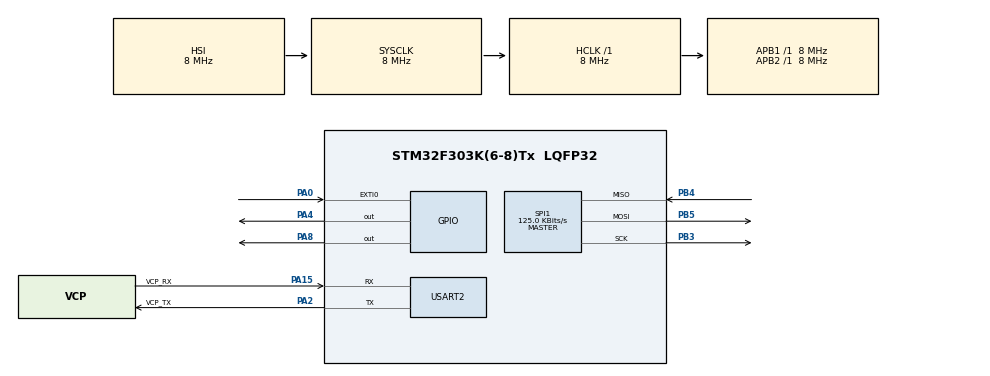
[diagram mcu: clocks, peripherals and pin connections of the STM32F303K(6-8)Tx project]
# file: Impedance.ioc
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Mcu.Family=STM32F3
Mcu.Name=STM32F303K(6-8)Tx
Mcu.Package=LQFP32
NVIC.EXTI0_IRQn=true\:0\:0\:false\:false\:true\:true\:true\:true
NVIC.PriorityGroup=NVIC_PRIORITYGROUP_4
PA0.GPIO_ModeDefaultEXTI=GPIO_MODE_IT_FALLING
PA0.GPIO_PuPd=GPIO_PULLUP
PA0.Signal=GPXTI0
PA13.GPIO_Label=SWDIO
PA13.Mode=Serial_Wire
PA13.Signal=SYS_JTMS-SWDIO
PA14.GPIO_Label=SWCLK
PA14.Mode=Serial_Wire
PA14.Signal=SYS_JTCK-SWCLK
PA15.GPIO_Label=VCP_RX
PA15.Mode=Asynchronous
PA15.Signal=USART2_RX
PA2.GPIO_Label=VCP_TX
PA2.Mode=Asynchronous
PA2.Signal=USART2_TX
PA4.PinState=GPIO_PIN_SET
PA4.Signal=GPIO_Output
PA8.Signal=GPIO_Output
PB3.Mode=Full_Duplex_Master
PB3.Signal=SPI1_SCK
PB4.Mode=Full_Duplex_Master
PB4.Signal=SPI1_MISO
PB5.Mode=Full_Duplex_Master
PB5.Signal=SPI1_MOSI
PF0\ /\ OSC_IN.GPIO_Label=MCO
PF0\ /\ OSC_IN.Mode=HSE-External-Clock-Source
PF0\ /\ OSC_IN.Signal=RCC_OSC_IN
ProjectManager.HeapSize=0x200
ProjectManager.StackSize=0x400
ProjectManager.TargetToolchain=STM32CubeIDE
RCC.AHBFreq_Value=8000000
RCC.APB1Freq_Value=8000000
RCC.APB2Freq_Value=8000000
RCC.CortexFreq_Value=8000000
RCC.HSE_VALUE=8000000
RCC.HSI_VALUE=8000000
RCC.SYSCLKFreq_VALUE=8000000
SPI1.BaudRatePrescaler=SPI_BAUDRATEPRESCALER_64
SPI1.CalculateBaudRate=125.0 KBits/s
SPI1.DataSize=SPI_DATASIZE_8BIT
SPI1.Direction=SPI_DIRECTION_2LINES
SPI1.Mode=SPI_MODE_MASTER
SPI1.VirtualType=VM_MASTER
USART2.VirtualMode-Asynchronous=VM_ASYNC
board=NUCLEO-F303K8

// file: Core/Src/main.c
/* USER CODE BEGIN Header */
/**
  ******************************************************************************
  * @file           : main.c
  * @brief          : Main program body
  ******************************************************************************
  * @attention
  *
  * Copyright (c) 2026 STMicroelectronics.
  * All rights reserved.
  *
  * This software is licensed under terms that can be found in the LICENSE file
  * in the root directory of this software component.
  * If no LICENSE file comes with this software, it is provided AS-IS.
  *
  ******************************************************************************
  */
/* USER CODE END Header */
#include "main.h"

/* USER CODE BEGIN Includes */
#include <stdio.h>
/* AD5940 includes — uncomment when the IC is connected:
#include "ad5940.h"
#include "Impedance.h"
*/
/* USER CODE END Includes */

/* USER CODE BEGIN PD */
/* Set TEST_MODE to 1 to run hardware self-test (LED + UART).
   Set to 0 and uncomment AD5940 includes above to run the real measurement. */
#define TEST_MODE  1
/* USER CODE END PD */

SPI_HandleTypeDef hspi1;

UART_HandleTypeDef huart2;

void SystemClock_Config(void);
static void MX_GPIO_Init(void);
static void MX_USART2_UART_Init(void);
static void MX_SPI1_Init(void);
/* USER CODE BEGIN PFP */
/* AD5940 entry point — uncomment when IC is connected:
extern void AD5940_Main(void);
*/
/* USER CODE END PFP */

/* USER CODE BEGIN 0 */
#include <errno.h>
#include <sys/unistd.h>
#include <sys/stat.h>

/* Redirect printf() to USART2 (Nucleo virtual COM port, 38400 baud) */
int _write(int file, char *data, int len)
{
  if ((file != STDOUT_FILENO) && (file != STDERR_FILENO))
  {
    errno = EBADF;
    return -1;
  }
  HAL_UART_Transmit(&huart2, (uint8_t*)data, (uint16_t)len, HAL_MAX_DELAY);
  return len;
}

/* Minimal syscall stubs to satisfy linker when using printf */
int _read(int file, char *ptr, int len) { return 0; }
int _fstat(int file, struct stat *st) { st->st_mode = S_IFCHR; return 0; }
int _isatty(int file) { return 1; }
int _lseek(int file, int ptr, int dir) { return 0; }
int _close(int file) { return -1; }

#if TEST_MODE
/* LED is on PA8 (same pin as AD5940 CS — safe to use without the IC) */
#define LED_PIN        GPIO_PIN_8
#define LED_PORT       GPIOA
#define BLINK_PERIOD   500u   /* ms — LED toggles every 500 ms = 1 Hz blink */
#define PRINT_PERIOD   1000u  /* ms — UART status line every second */
#endif /* TEST_MODE */
/* USER CODE END 0 */

int main(void)
{

  /* MCU Configuration--------------------------------------------------------*/

  /* Reset of all peripherals, Initializes the Flash interface and the Systick. */
  HAL_Init();

  /* Configure the system clock */
  SystemClock_Config();

  /* Initialize all configured peripherals */
  MX_GPIO_Init();
  MX_USART2_UART_Init();
  MX_SPI1_Init();
  /* USER CODE BEGIN 2 */
#if TEST_MODE
  /* --- Hardware self-test startup --- */
  HAL_Delay(100); // Wait for UART to stabilize
  uint8_t testMsg[] = "\r\n--- HW ALIVE ---\r\n";
  HAL_UART_Transmit(&huart2, testMsg, sizeof(testMsg)-1, 100);

  printf("=== Impedance Board Self-Test ===\r\n");
  printf("USART2 OK  : 38400 baud, 8N1\r\n");
  printf("LED        : PA8 (D7 on headers) blinking at 1Hz\r\n");
  printf("SPI1       : PB3/PB4/PB5 (Jumper PB4 to PB5 for loopback test)\r\n");
  printf("---------------------------------\r\n");

  /* Quick LED pulse to verify code is running */
  HAL_GPIO_WritePin(LED_PORT, LED_PIN, GPIO_PIN_SET);
  HAL_Delay(100);
  HAL_GPIO_WritePin(LED_PORT, LED_PIN, GPIO_PIN_RESET);
#else
  /* AD5940 resource init — uncomment when IC is connected:
  AD5940_MCUResourceInit(NULL);
  */
#endif /* TEST_MODE */
  /* USER CODE END 2 */

  /* Infinite loop */
  while (1)
  {

    /* USER CODE BEGIN 3 */
#if TEST_MODE
    /* ----- LED blink (non-blocking) ----- */
    static uint32_t lastBlink = 0;
    static uint32_t blinkCount = 0;
    if ((HAL_GetTick() - lastBlink) >= BLINK_PERIOD)
    {
      lastBlink = HAL_GetTick();
      HAL_GPIO_TogglePin(LED_PORT, LED_PIN);
      blinkCount++;
    }

    /* ----- UART/SPI status print (every PRINT_PERIOD ms) ----- */
    static uint32_t lastPrint = 0;
    if ((HAL_GetTick() - lastPrint) >= PRINT_PERIOD)
    {
      lastPrint = HAL_GetTick();

      /* SPI Test: Transmit 0xAA and see what we get back */
      uint8_t spiTx = 0xAA;
      uint8_t spiRx = 0x00;
      HAL_GPIO_WritePin(GPIOA, GPIO_PIN_8, GPIO_PIN_RESET); // CS Low (for test)
      HAL_SPI_TransmitReceive(&hspi1, &spiTx, &spiRx, 1, 10);
      HAL_GPIO_WritePin(GPIOA, GPIO_PIN_8, GPIO_PIN_SET);   // CS High

      printf("[%6lu ms] LED blinks: %lu | SPI RX: 0x%02X\r\n",
             (unsigned long)HAL_GetTick(),
             (unsigned long)blinkCount,
             spiRx);
      if (spiRx == 0xAA) printf("           >> SPI Loopback SUCCESS!\r\n");
    }

    /* ----- UART echo (non-blocking, 1 byte at a time) ----- */
    uint8_t rxByte = 0;
    if (HAL_UART_Receive(&huart2, &rxByte, 1, 0) == HAL_OK)
    {
      /* Echo the character back with a label */
      printf("ECHO < 0x%02X '%c' >\r\n", rxByte,
             (rxByte >= 0x20 && rxByte < 0x7F) ? rxByte : '.');
    }
#else
    /* AD5940 measurement — uncomment when IC is connected:
    AD5940_Main();
    */
#endif /* TEST_MODE */
  }
  /* USER CODE END 3 */
}

void SystemClock_Config(void)
{
  RCC_OscInitTypeDef RCC_OscInitStruct = {0};
  RCC_ClkInitTypeDef RCC_ClkInitStruct = {0};

  /** Initializes the RCC Oscillators according to the specified parameters
  * in the RCC_OscInitTypeDef structure.
  */
  RCC_OscInitStruct.OscillatorType = RCC_OSCILLATORTYPE_HSI;
  RCC_OscInitStruct.HSIState = RCC_HSI_ON;
  RCC_OscInitStruct.HSICalibrationValue = RCC_HSICALIBRATION_DEFAULT;
  RCC_OscInitStruct.PLL.PLLState = RCC_PLL_NONE;
  if (HAL_RCC_OscConfig(&RCC_OscInitStruct) != HAL_OK)
  {
    Error_Handler();
  }

  /** Initializes the CPU, AHB and APB buses clocks
  */
  RCC_ClkInitStruct.ClockType = RCC_CLOCKTYPE_HCLK|RCC_CLOCKTYPE_SYSCLK
                              |RCC_CLOCKTYPE_PCLK1|RCC_CLOCKTYPE_PCLK2;
  RCC_ClkInitStruct.SYSCLKSource = RCC_SYSCLKSOURCE_HSI;
  RCC_ClkInitStruct.AHBCLKDivider = RCC_SYSCLK_DIV1;
  RCC_ClkInitStruct.APB1CLKDivider = RCC_HCLK_DIV1;
  RCC_ClkInitStruct.APB2CLKDivider = RCC_HCLK_DIV1;

  if (HAL_RCC_ClockConfig(&RCC_ClkInitStruct, FLASH_LATENCY_0) != HAL_OK)
  {
    Error_Handler();
  }
}

static void MX_SPI1_Init(void)
{

  /* SPI1 parameter configuration*/
  hspi1.Instance = SPI1;
  hspi1.Init.Mode = SPI_MODE_MASTER;
  hspi1.Init.Direction = SPI_DIRECTION_2LINES;
  hspi1.Init.DataSize = SPI_DATASIZE_8BIT;
  hspi1.Init.CLKPolarity = SPI_POLARITY_LOW;
  hspi1.Init.CLKPhase = SPI_PHASE_1EDGE;
  hspi1.Init.NSS = SPI_NSS_SOFT;
  hspi1.Init.BaudRatePrescaler = SPI_BAUDRATEPRESCALER_64;
  hspi1.Init.FirstBit = SPI_FIRSTBIT_MSB;
  hspi1.Init.TIMode = SPI_TIMODE_DISABLE;
  hspi1.Init.CRCCalculation = SPI_CRCCALCULATION_DISABLE;
  hspi1.Init.CRCPolynomial = 7;
  hspi1.Init.CRCLength = SPI_CRC_LENGTH_DATASIZE;
  hspi1.Init.NSSPMode = SPI_NSS_PULSE_ENABLE;
  if (HAL_SPI_Init(&hspi1) != HAL_OK)
  {
    Error_Handler();
  }

}

static void MX_USART2_UART_Init(void)
{

  huart2.Instance = USART2;
  huart2.Init.BaudRate = 38400;
  huart2.Init.WordLength = UART_WORDLENGTH_8B;
  huart2.Init.StopBits = UART_STOPBITS_1;
  huart2.Init.Parity = UART_PARITY_NONE;
  huart2.Init.Mode = UART_MODE_TX_RX;
  huart2.Init.HwFlowCtl = UART_HWCONTROL_NONE;
  huart2.Init.OverSampling = UART_OVERSAMPLING_16;
  huart2.Init.OneBitSampling = UART_ONE_BIT_SAMPLE_DISABLE;
  huart2.AdvancedInit.AdvFeatureInit = UART_ADVFEATURE_NO_INIT;
  if (HAL_UART_Init(&huart2) != HAL_OK)
  {
    Error_Handler();
  }

}

static void MX_GPIO_Init(void)
{
  GPIO_InitTypeDef GPIO_InitStruct = {0};

  /* GPIO Ports Clock Enable */
  __HAL_RCC_GPIOF_CLK_ENABLE();
  __HAL_RCC_GPIOA_CLK_ENABLE();
  __HAL_RCC_GPIOB_CLK_ENABLE();

  /*Configure GPIO pin Output Level */
  HAL_GPIO_WritePin(GPIOA, GPIO_PIN_4, GPIO_PIN_SET);

  /*Configure GPIO pin Output Level */
  HAL_GPIO_WritePin(GPIOA, GPIO_PIN_8, GPIO_PIN_RESET);

  /*Configure GPIO pin : PA0 */
  GPIO_InitStruct.Pin = GPIO_PIN_0;
  GPIO_InitStruct.Mode = GPIO_MODE_IT_FALLING;
  GPIO_InitStruct.Pull = GPIO_PULLUP;
  HAL_GPIO_Init(GPIOA, &GPIO_InitStruct);

  /*Configure GPIO pins : PA4 PA8 */
  GPIO_InitStruct.Pin = GPIO_PIN_4|GPIO_PIN_8;
  GPIO_InitStruct.Mode = GPIO_MODE_OUTPUT_PP;
  GPIO_InitStruct.Pull = GPIO_NOPULL;
  GPIO_InitStruct.Speed = GPIO_SPEED_FREQ_LOW;
  HAL_GPIO_Init(GPIOA, &GPIO_InitStruct);

  /* EXTI interrupt init*/
  HAL_NVIC_SetPriority(EXTI0_IRQn, 0, 0);
  HAL_NVIC_EnableIRQ(EXTI0_IRQn);

}

void Error_Handler(void)
{
  __disable_irq();
  while (1)
  {
  }
}
